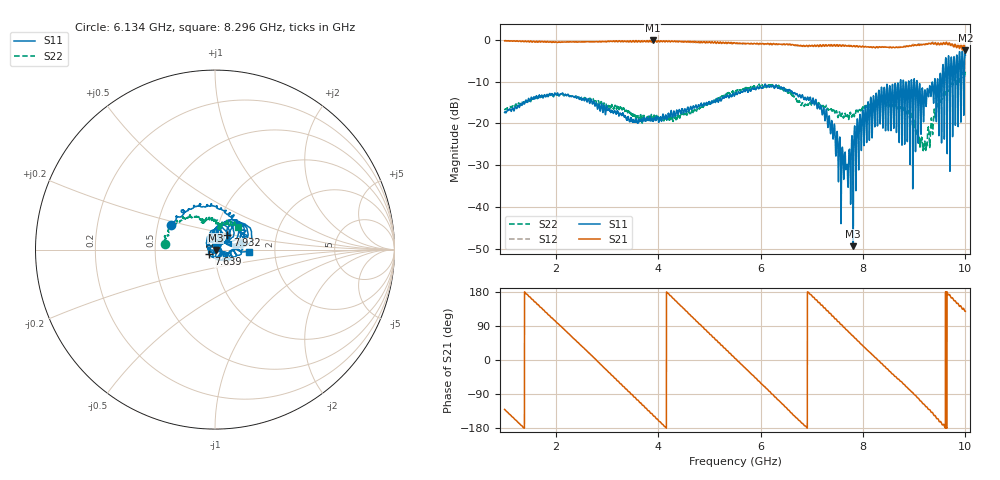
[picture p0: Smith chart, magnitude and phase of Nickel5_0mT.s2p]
#  HZ  S  RI  R  50.0
! Rohde & Schwarz ZVL13 2Ports - Version 3.31 - 1303.6509k13 SN: 101088
! Date: 2023-03-09 13:56:44
! Data & Calibration Information:
! Trc4:S11(TOSM) Trc2:S21(TOSM) Trc3:S12(TOSM) Trc5:S22(TOSM)
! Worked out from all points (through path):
!   4000 points, 1 GHz to 10 GHz, reference 50 ohm
!   highest |S21| = -0.16 dB at 3.892 GHz (marker M1); lowest = -2.5 dB at 10 GHz (marker M2)
!   group delay of S21, straight-line fit = 363 ps
!   lowest |S11| = -49.3 dB at 7.81 GHz (marker M3), VSWR 1.01, Z = 50.3 - j0.154 ohm
!   |S11| at or under -10 dB: start of sweep to 8.73 GHz; 8.792 GHz to 8.89 GHz (97.51 MHz wide, 1.1 % of centre); 9.057 GHz to 9.399 GHz (341.5 MHz wide, 3.7 % of centre)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
!   |S22| runs from -26.5 to -7.5 dB; largest |S21 - S12| = 0.086
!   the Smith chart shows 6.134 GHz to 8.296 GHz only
!   S11 on the Smith chart (normalised r, x): 6.134 GHz: 0.58, +0.17; 7.639 GHz: 0.93, -0.05; 7.932 GHz: 1.13, +0.18; 8.296 GHz: 1.47, -0.03
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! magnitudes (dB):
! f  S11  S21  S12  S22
! 1 GHz  -17.4  -0.2  -0.2  -16.8
! 1.695 GHz  -13.8  -0.5  -0.4  -13.7
! 2.501 GHz  -14.3  -0.5  -0.5  -13.8
! 3.892 GHz  -18.9  -0.2  -0.3  -19.1
! 4 GHz  -19.0  -0.2  -0.2  -19.1
! 5.501 GHz  -13.1  -0.8  -0.9  -12.4
! 6.134 GHz  -11.0  -0.9  -0.9  -11.1
! 7 GHz  -15.3  -1.3  -1.4  -15.5
! 7.311 GHz  -20.6  -1.4  -1.2  -16.5
! 7.464 GHz  -26.2  -1.5  -1.2  -17.5
! 7.547 GHz  -23.2  -1.2  -1.4  -17.4
! 7.639 GHz  -27.3  -1.5  -1.4  -17.8
! 7.722 GHz  -28.3  -1.4  -1.4  -18.9
! 7.81 GHz  -49.3  -1.5  -1.5  -17.6
! 7.932 GHz  -19.6  -1.5  -1.6  -16.9
! 8.296 GHz  -14.3  -1.9  -1.9  -14.9
! 8.501 GHz  -18.7  -1.8  -1.8  -15.2
! 8.908 GHz  -14.4  -1.4  -1.4  -18.5
! 9.208 GHz  -12.0  -1.2  -1.0  -24.2
! 9.604 GHz  -7.4  -1.1  -1.0  -13.0
! 9.642 GHz  -25.0  -0.9  -1.0  -11.6
! 10 GHz  -3.7  -2.5  -2.3  -7.5
